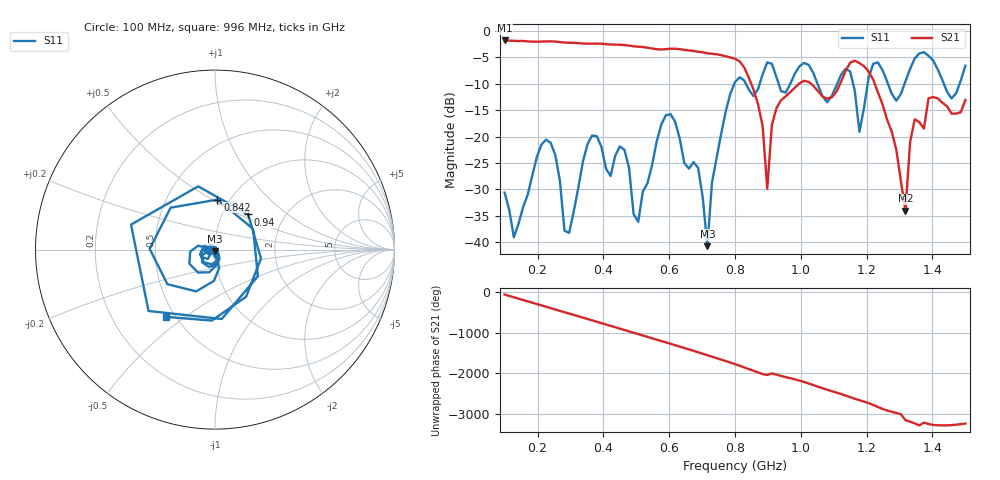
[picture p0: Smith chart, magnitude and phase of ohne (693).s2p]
! NanoVNA-App
! Date: 2025-09-25 14:26:11
! Start: 100MHz Stop: 1,5GHz Points: 101
! S-Parameter data: F S11 S21 S12 S22
# Hz S RI R 50
!  Frequency  S11_Real  S11_Imag  S21_Real  S21_Imag  S12_Real  S12_Imag  S22_Real  S22_Imag
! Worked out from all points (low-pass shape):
!   101 points, 100 MHz to 1.5 GHz, reference 50 ohm
!   highest |S21| = -1.79 dB at 100 MHz (marker M1); lowest = -34.1 dB at 1.318 GHz (marker M2)
!   |S21| within 3 dB of the highest: start of sweep to 771.1 MHz
!   lowest |S11| = -40.8 dB at 716 MHz (marker M3), VSWR 1.02, Z = 49.9 - j0.902 ohm
!   |S11| at or under -10 dB: start of sweep to 798 MHz; 833.1 MHz to 875.1 MHz (41.94 MHz wide, 4.91 % of centre); 1.051 GHz to 1.111 GHz (60.04 MHz wide, 5.56 % of centre) (the widest 3 of 7)
!   S12 and S22 are empty: the file has one direction only
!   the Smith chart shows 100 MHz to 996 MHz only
!   S11 on the Smith chart (normalised r, x): 100 MHz: 0.94, -0.01; 842 MHz: 0.88, +0.53; 940 MHz: 1.32, +0.56; 996 MHz: 0.44, -0.42
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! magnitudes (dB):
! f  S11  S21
! 100 MHz  -30.6  -1.8
! 128 MHz  -39.1  -1.9
! 226 MHz  -20.6  -2.0
! 296 MHz  -38.3  -2.2
! 338 MHz  -24.7  -2.4
! 464 MHz  -22.5  -2.7
! 506 MHz  -36.2  -3.0
! 576 MHz  -17.7  -3.5
! 688 MHz  -26.0  -3.9
! 716 MHz  -40.8  -4.2
! 800 MHz  -9.7  -5.3
! 842 MHz  -11.1  -8.8
! 898 MHz  -5.9  -29.9
! 940 MHz  -11.4  -13.1
! 996 MHz  -6.7  -9.9
! 1.038 GHz  -7.9  -10.4
! 1.178 GHz  -19.1  -6.1
! 1.22 GHz  -6.2  -9.2
! 1.276 GHz  -11.9  -19.0
! 1.318 GHz  -9.5  -34.1
! 1.346 GHz  -5.2  -16.7
! 1.5 GHz  -6.6  -13.1
